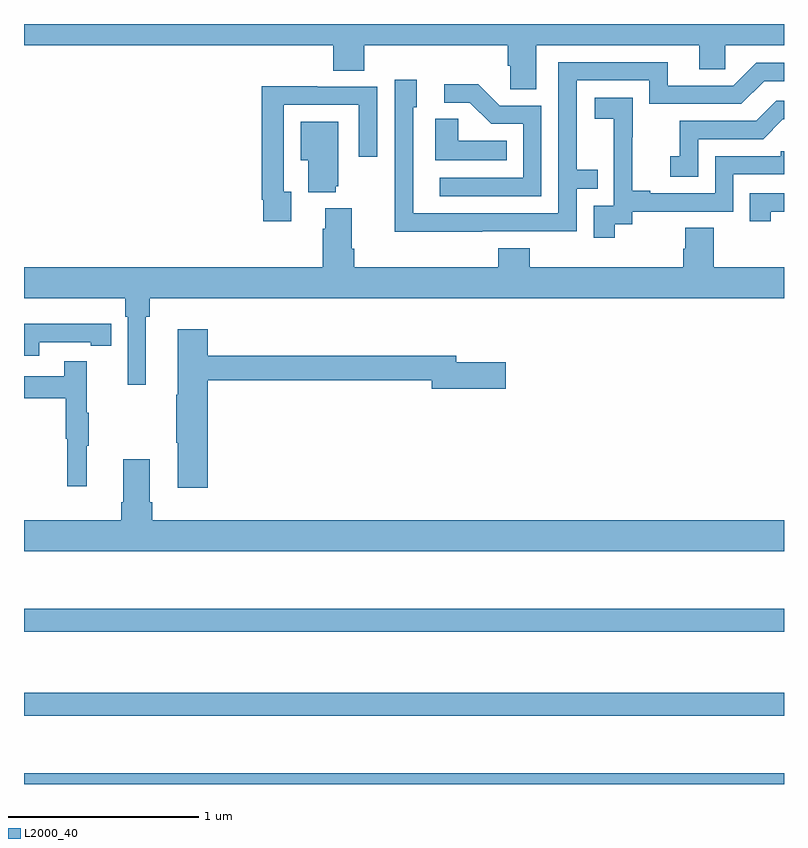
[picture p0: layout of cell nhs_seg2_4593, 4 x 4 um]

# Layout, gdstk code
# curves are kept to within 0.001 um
import gdstk
lib = gdstk.Library(unit=1e-6, precision=1e-09)
def R(c, l, rs):  # rectangles x0, y0, x1, y1
    for r in rs: c.add(gdstk.rectangle(r[:2], r[2:], *l))
def P(c, l, *ps):  # polygons
    for p in ps: c.add(gdstk.Polygon(p, *l))
L2000_40 = (2000, 40)

nhs_seg2_4593 = lib.new_cell('nhs_seg2_4593')
R(nhs_seg2_4593, L2000_40, [(361,591.8,365,591.856), (361,592.158,365,592.279), (361,592.602,365,592.723)])
P(nhs_seg2_4593, L2000_40, [(361,595.688),(362.627,595.688),(362.627,595.555),(362.792,595.555),(362.792,595.688),(363.545,595.688),(363.545,595.579),(363.558,595.579),(363.558,595.456),(363.697,595.456),(363.697,595.688),(364.553,595.688),(364.553,595.561),(364.692,595.561),(364.692,595.688),(365,595.688),(365,595.8),(361,595.8)],
  [(363.413,594.708),(363.909,594.708),(363.909,594.933),(364.019,594.933),(364.019,595.034),(363.909,595.034),(363.909,595.503),(364.29,595.503),(364.29,595.38),(364.776,595.38),(364.896,595.5),(365,595.5),(365,595.596),(364.854,595.596),(364.734,595.476),(364.387,595.476),(364.387,595.599),(363.813,595.599),(363.813,594.804),(363.048,594.804),(363.048,595.362),(363.067,595.362),(363.067,595.507),(362.952,595.507),(362.952,595.013),(362.95,595.013),(362.95,594.707)],
  [(363.723,595.371),(363.504,595.371),(363.391,595.484),(363.213,595.484),(363.213,595.386),(363.347,595.386),(363.458,595.275),(363.627,595.275),(363.627,594.99),(363.189,594.99),(363.189,594.894),(363.723,594.894)],
  [(362.407,594.918),(362.367,594.918),(362.367,595.374),(362.763,595.374),(362.763,595.101),(362.859,595.101),(362.859,595.47),(362.543,595.47),(362.543,595.472),(362.251,595.472),(362.251,594.874),(362.259,594.874),(362.259,594.762),(362.407,594.762)],
  [(364.108,594.745),(364.2,594.745),(364.2,594.813),(364.734,594.813),(364.734,595.008),(365,595.008),(365,595.131),(364.983,595.131),(364.983,595.104),(364.638,595.104),(364.638,594.909),(364.297,594.909),(364.297,594.922),(364.202,594.922),(364.202,595.205),(364.203,595.205),(364.203,595.411),(364.005,595.411),(364.005,595.301),(364.103,595.301),(364.103,595.073),(364.104,595.073),(364.104,594.843),(363.999,594.843),(363.999,594.675),(364.108,594.675)],
  [(364.548,595.194),(364.89,595.194),(364.994,595.298),(365,595.298),(365,595.395),(364.958,595.395),(364.853,595.29),(364.45,595.29),(364.45,595.105),(364.401,595.105),(364.401,594.996),(364.548,594.996)],
  [(363.542,595.186),(363.285,595.186),(363.285,595.301),(363.164,595.301),(363.164,595.082),(363.542,595.082)],
  [(362.642,594.945),(362.653,594.945),(362.653,595.285),(362.456,595.285),(362.456,595.082),(362.495,595.082),(362.495,594.914),(362.642,594.914)],
  [(364.93,594.813),(365,594.813),(365,594.909),(364.819,594.909),(364.819,594.762),(364.93,594.762)],
  [(361,594.356),(361.532,594.356),(361.532,594.26),(361.545,594.26),(361.545,593.901),(361.642,593.901),(361.642,594.26),(361.661,594.26),(361.661,594.356),(365,594.356),(365,594.52),(364.629,594.52),(364.629,594.728),(364.481,594.728),(364.481,594.618),(364.469,594.618),(364.469,594.52),(363.662,594.52),(363.662,594.619),(363.497,594.619),(363.497,594.52),(362.738,594.52),(362.738,594.616),(362.725,594.616),(362.725,594.829),(362.585,594.829),(362.585,594.722),(362.573,594.722),(362.573,594.52),(361,594.52)],
  [(361.08,594.126),(361.352,594.126),(361.352,594.106),(361.46,594.106),(361.46,594.222),(361.352,594.222),(361.352,594.223),(361,594.223),(361,594.054),(361.08,594.054)],
  [(361.967,593.926),(363.146,593.926),(363.146,593.879),(363.535,593.879),(363.535,594.021),(363.274,594.021),(363.274,594.055),(361.967,594.055),(361.967,594.193),(361.808,594.193),(361.808,593.849),(361.801,593.849),(361.801,593.596),(361.808,593.596),(361.808,593.358),(361.967,593.358)],
  [(361.331,593.579),(361.342,593.579),(361.342,593.753),(361.331,593.753),(361.331,594.025),(361.213,594.025),(361.213,593.946),(361,593.946),(361,593.83),(361.221,593.83),(361.221,593.616),(361.228,593.616),(361.228,593.367),(361.331,593.367)],
  [(365,593.188),(361.676,593.188),(361.676,593.284),(361.663,593.284),(361.663,593.509),(361.523,593.509),(361.523,593.284),(361.511,593.284),(361.511,593.188),(361,593.188),(361,593.024),(365,593.024)])

lib.write_gds('nhs_seg2_4593.gds')
